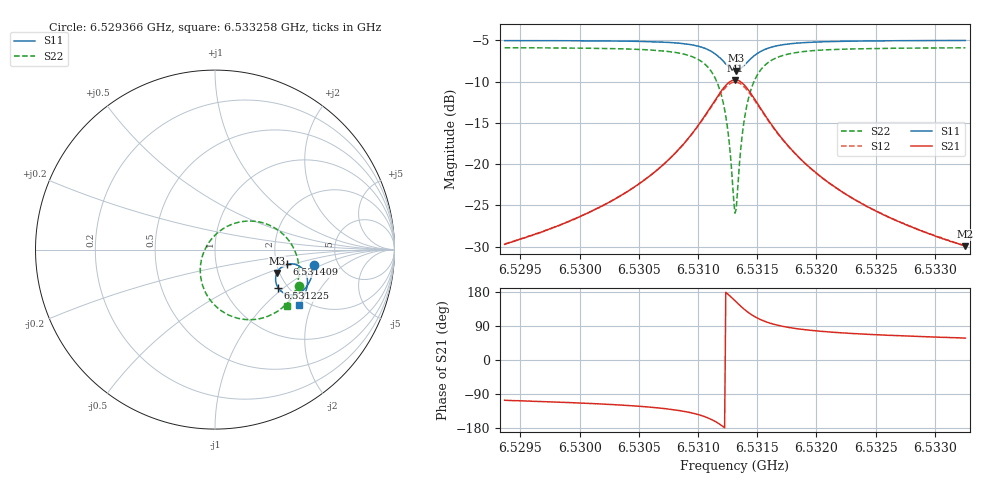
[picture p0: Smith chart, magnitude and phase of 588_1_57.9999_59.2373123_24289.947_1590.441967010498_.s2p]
#  HZ  S  RI  R  50.00
! Rohde & Schwarz Vector Network Analyzer
! Rohde-Schwarz,ZNB20-2Port,1311601062101988,3.16
! Created: UTC 3/21/2024, 1:16:42 AM
! freq[Hz]  re:S11  im:S11  re:S21  im:S21  re:S12  im:S12  re:S22  im:S22
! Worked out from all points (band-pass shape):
!   401 points, 6.529366 GHz to 6.533258 GHz, reference 50 ohm
!   highest |S21| = -9.78 dB at 6.531312 GHz (marker M1); lowest = -29.9 dB at 6.533258 GHz (marker M2)
!   |S21| within 3 dB of the highest: 6.531119 GHz to 6.531508 GHz (388.2 kHz wide, 0.00594 % of centre)
!   lowest |S11| = -8.7 dB at 6.531322 GHz (marker M3), VSWR 2.17, Z = 96.9 - j29.3 ohm
!   |S11| at or under -10 dB: nowhere
!   |S22| runs from -25.9 to -5.9 dB; largest |S21 - S12| = 0.013
!   S11 on the Smith chart (normalised r, x): 6.529366 GHz: 3.33, -0.82; 6.531225 GHz: 1.79, -0.92; 6.531409 GHz: 2.29, -0.45; 6.533258 GHz: 1.82, -1.64
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6.5293665e9  0.5542 -0.0845  -0.0091 -0.0314  -0.00991 -0.0312  0.4663 -0.201
6.5300183e9  0.5418 -0.1393  -0.0197 -0.0446  -0.0208 -0.0442  0.432 -0.2613
6.530388e9  0.5288 -0.1743  -0.0332 -0.0585  -0.0348 -0.0574  0.396 -0.3044
6.5306701e9  0.511 -0.2054  -0.0562 -0.0757  -0.0585 -0.074  0.3439 -0.3463
6.5308938e9  0.4819 -0.2344  -0.0986 -0.0947  -0.1015 -0.091  0.2585 -0.3829
6.5310592e9  0.4357 -0.2521  -0.1706 -0.0992  -0.1726 -0.0918  0.1272 -0.3827
6.5311565e9  0.3886 -0.2445  -0.2429 -0.0688  -0.2411 -0.0586  0.00737 -0.3184
6.5312246e9  0.3527 -0.2139  -0.2949 -0.00551  -0.2878 0.00479  -0.068 -0.2026
6.5312538e9  0.3419 -0.1921  -0.3079 0.0357  -0.2983 0.0444  -0.0816 -0.1323
6.5312927e9  0.3382 -0.157  -0.3072 0.0987  -0.2952 0.1038  -0.0683 -0.0296
6.5313122e9  0.3419 -0.1389  -0.2972 0.1302  -0.2849 0.1332  -0.0464 0.0199
6.5313219e9  0.3452 -0.1305  -0.2899 0.1452  -0.2777 0.147  -0.0319 0.0427
6.5313316e9  0.3495 -0.1222  -0.2812 0.1592  -0.2692 0.16  -0.0152 0.0641
6.5313705e9  0.3733 -0.0959  -0.2359 0.2036  -0.2259 0.2012  0.0665 0.1287
6.5314094e9  0.4025 -0.0821  -0.1832 0.2264  -0.1763 0.2225  0.1569 0.1568
6.5314775e9  0.4483 -0.0828  -0.1033 0.2259  -0.0998 0.2222  0.2903 0.1413
6.5315748e9  0.4879 -0.1068  -0.0357 0.1905  -0.0342 0.1885  0.3985 0.0664
6.5317208e9  0.5102 -0.1447  0.00375 0.1396  0.00497 0.1389  0.4556 -0.0354
6.531964e9  0.5151 -0.189  0.0194 0.0905  0.0206 0.0903  0.4676 -0.1369
6.5322461e9  0.5088 -0.224  0.0214 0.0623  0.0224 0.0619  0.456 -0.2016
6.5326158e9  0.4961 -0.2589  0.02 0.0431  0.0208 0.0429  0.4356 -0.2536
6.5332579e9  0.4705 -0.3075  0.017 0.027  0.0176 0.0268  0.4002 -0.3117
